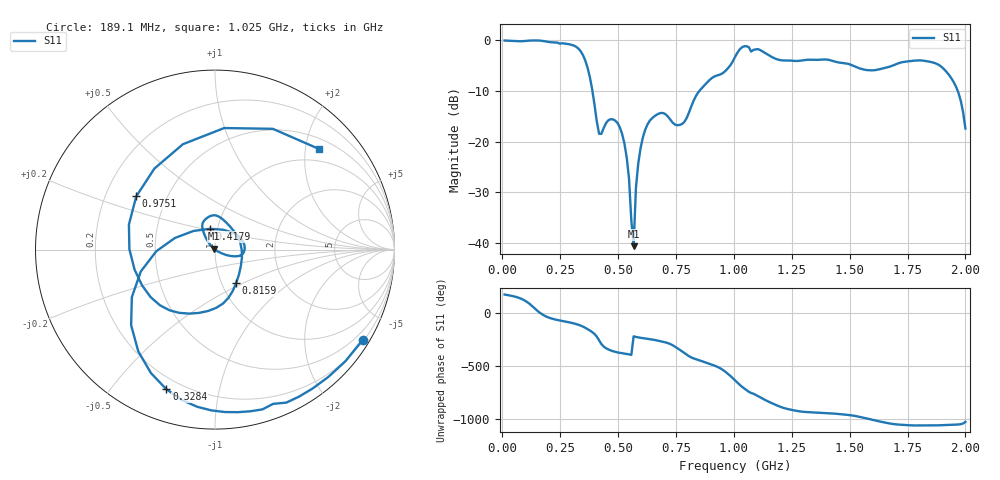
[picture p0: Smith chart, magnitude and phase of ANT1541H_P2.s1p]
!Created with skrf (http://scikit-rf.org).
# Hz S RI R 50.0
!freq ReS11 ImS11
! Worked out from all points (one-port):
!   201 points, 10 MHz to 2 GHz, reference 50 ohm
!   lowest |S11| = -40.6 dB at 567.2 MHz (marker M1), VSWR 1.02, Z = 49.3 + j0.576 ohm
!   |S11| at or under -10 dB: 389.1 MHz to 851.8 MHz (462.7 MHz wide, 74.6 % of centre); 1.967 GHz to end of sweep
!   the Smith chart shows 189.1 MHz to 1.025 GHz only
!   S11 on the Smith chart (normalised r, x): 189.1 MHz: 0.25, -3.55; 328.4 MHz: 0.14, -0.70; 417.9 MHz: 0.92, +0.22; 816 MHz: 1.17, -0.46; 975.1 MHz: 0.33, +0.28; 1.025 GHz: 0.71, +2.27
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1e7  -0.9843 0.071
7.965e7  -0.7203 0.6494
1.1945e8  0.0835 0.9826
1.493e8  0.8813 0.4469
1.891e8  0.8241 -0.501
2.5875e8  0.2644 -0.8902
3.284e8  -0.271 -0.7779
3.682e8  -0.4633 -0.2649
4.1795e8  -0.029 0.116
5.075e8  0.1336 -0.0356
5.3735e8  0.0628 -0.0302
5.672e8  -0.00732 0.00584
5.871e8  -0.04 0.0458
6.1695e8  -0.0685 0.111
7.5625e8  0.127 0.07
8.1595e8  0.1178 -0.1872
9.1545e8  -0.3069 -0.31
9.7515e8  -0.4386 0.2968
1.005e9  0.0511 0.6772
1.0249e9  0.5776 0.5615
1.05475e9  0.8604 -0.1113
1.11445e9  0.1958 -0.7695
1.17415e9  -0.5081 -0.4248
1.25375e9  -0.6018 0.1656
1.5025e9  -0.2532 0.5142
1.75125e9  0.5719 0.228
1.9204e9  0.4364 0.1983
2e9  0.0805 0.1079
